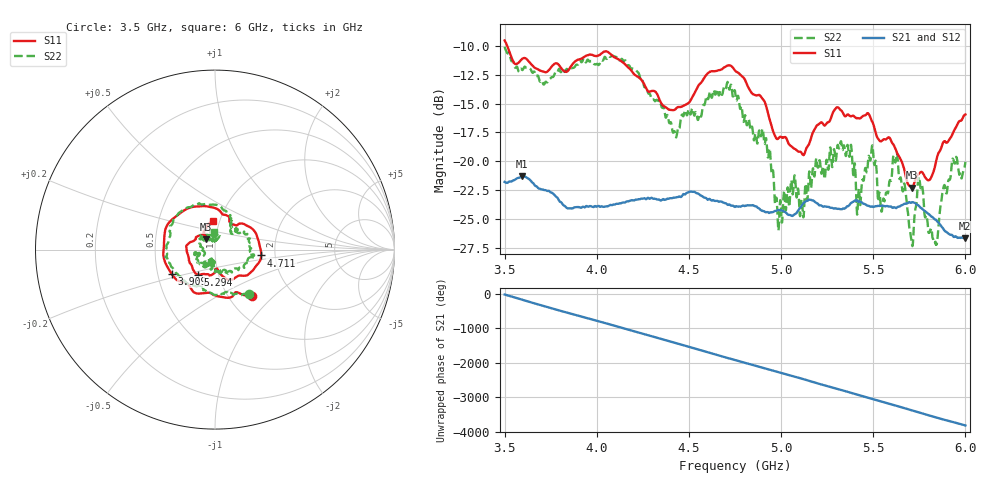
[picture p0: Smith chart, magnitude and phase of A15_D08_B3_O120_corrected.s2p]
! Created with skrf 1.9.0 (http://scikit-rf.org).
# Hz S RI R 50.0
!freq ReS11 ImS11 ReS21 ImS21 ReS12 ImS12 ReS22 ImS22
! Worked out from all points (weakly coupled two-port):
!   1601 points, 3.5 GHz to 6 GHz, reference 50 ohm
!   highest |S21| = -21.30 dB at 3.594 GHz (marker M1); lowest = -26.7 dB at 5.995 GHz (marker M2)
!   lowest |S11| = -22.3 dB at 5.709 GHz (marker M3), VSWR 1.17, Z = 44.9 + j5.21 ohm
!   |S11| at or under -10 dB: 3.514 GHz to end of sweep
!   |S22| runs from -27.4 to -10.1 dB; largest |S21 - S12| = 0.0011
!   S11 on the Smith chart (normalised r, x): 3.5 GHz: 1.28, -0.75; 3.909 GHz: 0.59, -0.17; 4.711 GHz: 1.69, -0.12; 5.294 GHz: 0.80, -0.23; 6 GHz: 0.93, +0.30
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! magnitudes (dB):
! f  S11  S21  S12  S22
! 3.5 GHz  -9.5  -21.8  -21.8  -10.1
! 3.594 GHz  -11.2  -21.3  -21.3  -12.1
! 3.909 GHz  -11.2  -24.0  -24.0  -11.2
! 3.917 GHz  -11.1  -24.0  -24.0  -11.4
! 4.334 GHz  -14.4  -23.3  -23.3  -14.8
! 4.425 GHz  -15.5  -23.2  -23.1  -17.6
! 4.711 GHz  -11.7  -23.8  -23.7  -13.2
! 4.75 GHz  -12.1  -24.0  -23.9  -13.9
! 4.909 GHz  -14.8  -24.3  -24.3  -18.5
! 4.994 GHz  -17.9  -24.3  -24.2  -23.6
! 5.167 GHz  -17.7  -23.4  -23.3  -21.5
! 5.294 GHz  -15.5  -24.1  -24.1  -19.7
! 5.42 GHz  -16.3  -23.5  -23.5  -22.5
! 5.487 GHz  -16.3  -23.9  -23.9  -19.6
! 5.584 GHz  -17.9  -23.9  -23.9  -22.2
! 5.622 GHz  -19.0  -24.0  -24.1  -20.0
! 5.709 GHz  -22.3  -23.6  -23.5  -27.2
! 5.752 GHz  -21.0  -23.9  -23.9  -21.7
! 5.836 GHz  -20.4  -25.0  -25.0  -27.1
! 5.936 GHz  -17.4  -26.5  -26.5  -19.9
! 5.995 GHz  -16.0  -26.7  -26.6  -20.5
! 6 GHz  -15.9  -26.7  -26.6  -20.1
